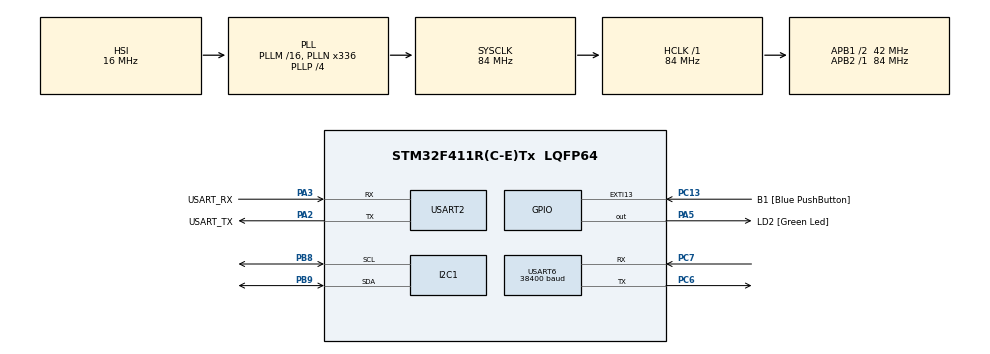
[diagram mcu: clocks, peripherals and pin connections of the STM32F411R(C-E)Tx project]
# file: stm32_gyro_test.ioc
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Mcu.Family=STM32F4
Mcu.Name=STM32F411R(C-E)Tx
Mcu.Package=LQFP64
NVIC.I2C1_EV_IRQn=true\:0\:0\:false\:false\:true\:true\:true\:true
NVIC.PriorityGroup=NVIC_PRIORITYGROUP_0
NVIC.TIM3_IRQn=true\:0\:0\:false\:false\:true\:true\:true\:true
NVIC.USART2_IRQn=true\:0\:0\:false\:false\:true\:true\:true\:true
NVIC.USART6_IRQn=true\:0\:0\:false\:false\:true\:true\:true\:true
PA13.GPIO_Label=TMS
PA13.Mode=Serial_Wire
PA13.Signal=SYS_JTMS-SWDIO
PA14.GPIO_Label=TCK
PA14.Mode=Serial_Wire
PA14.Signal=SYS_JTCK-SWCLK
PA2.GPIO_Label=USART_TX
PA2.Mode=Asynchronous
PA2.Signal=USART2_TX
PA3.GPIO_Label=USART_RX
PA3.Mode=Asynchronous
PA3.Signal=USART2_RX
PA5.GPIO_Label=LD2 [Green Led]
PA5.Signal=GPIO_Output
PB3.GPIO_Label=SWO
PB3.Signal=SYS_JTDO-SWO
PB8.Mode=I2C
PB8.Signal=I2C1_SCL
PB9.Mode=I2C
PB9.Signal=I2C1_SDA
PC13-ANTI_TAMP.GPIO_Label=B1 [Blue PushButton]
PC13-ANTI_TAMP.GPIO_ModeDefaultEXTI=GPIO_MODE_IT_FALLING
PC13-ANTI_TAMP.Signal=GPXTI13
PC14-OSC32_IN.Mode=LSE-External-Oscillator
PC14-OSC32_IN.Signal=RCC_OSC32_IN
PC15-OSC32_OUT.Mode=LSE-External-Oscillator
PC15-OSC32_OUT.Signal=RCC_OSC32_OUT
PC6.Mode=Asynchronous
PC6.Signal=USART6_TX
PC7.Mode=Asynchronous
PC7.Signal=USART6_RX
PH0\ -\ OSC_IN.Mode=HSE-External-Clock-Source
PH0\ -\ OSC_IN.Signal=RCC_OSC_IN
PH1\ -\ OSC_OUT.Mode=HSE-External-Clock-Source
PH1\ -\ OSC_OUT.Signal=RCC_OSC_OUT
ProjectManager.HeapSize=0x200
ProjectManager.StackSize=0x400
ProjectManager.TargetToolchain=STM32CubeIDE
RCC.48MHZClocksFreq_Value=84000000
RCC.AHBFreq_Value=84000000
RCC.APB1CLKDivider=RCC_HCLK_DIV2
RCC.APB1Freq_Value=42000000
RCC.APB1TimFreq_Value=84000000
RCC.APB2Freq_Value=84000000
RCC.APB2TimFreq_Value=84000000
RCC.CortexFreq_Value=84000000
RCC.FLatency-AdvancedSettings=FLASH_LATENCY_2
RCC.HCLKFreq_Value=84000000
RCC.HSE_VALUE=8000000
RCC.HSI_VALUE=16000000
RCC.PLLN=336
RCC.PLLP=RCC_PLLP_DIV4
RCC.SYSCLKFreq_VALUE=84000000
RCC.SYSCLKSource=RCC_SYSCLKSOURCE_PLLCLK
RCC.VCOOutputFreq_Value=336000000
TIM3.AutoReloadPreload=TIM_AUTORELOAD_PRELOAD_ENABLE
TIM3.Period=1000-1
TIM3.Prescaler=84-1
USART2.VirtualMode=VM_ASYNC
USART6.BaudRate=38400
USART6.VirtualMode=VM_ASYNC
VP_TIM3_VS_ClockSourceINT.Mode=Internal
board=NUCLEO-F411RE

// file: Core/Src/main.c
/* USER CODE BEGIN Header */
/**
  ******************************************************************************
  * @file           : main.c
  * @brief          : Main program body
  ******************************************************************************
  * @attention
  *
  * Copyright (c) 2025 STMicroelectronics.
  * All rights reserved.
  *
  * This software is licensed under terms that can be found in the LICENSE file
  * in the root directory of this software component.
  * If no LICENSE file comes with this software, it is provided AS-IS.
  *
  ******************************************************************************
  */
/* USER CODE END Header */
#include "main.h"

/* USER CODE BEGIN Includes */
#include "MPU6050.h"
#include "math.h"
#include <stdio.h>
#include <stdlib.h>
#include <string.h>
#include "esp.h"
/* USER CODE END Includes */

/* USER CODE BEGIN PD */
#ifdef __GNUC__
/* With GCC, small printf (option LD Linker->Libraries->Small printf
   set to 'Yes') calls __io_putchar() */
#define PUTCHAR_PROTOTYPE int __io_putchar(int ch)
#else
#define PUTCHAR_PROTOTYPE int fputc(int ch, FILE *f)
#endif /* __GNUC__ */
/* USER CODE END PD */

I2C_HandleTypeDef hi2c1;

TIM_HandleTypeDef htim3;

UART_HandleTypeDef huart2;
UART_HandleTypeDef huart6;

void SystemClock_Config(void);
static void MX_GPIO_Init(void);
static void MX_USART2_UART_Init(void);
static void MX_I2C1_Init(void);
static void MX_TIM3_Init(void);
static void MX_USART6_UART_Init(void);
/* USER CODE BEGIN PFP */
void MPU6050_Write(uint8_t Address, uint8_t data);
void MPU6050_Write_bits(uint8_t Address, uint8_t bitStart, uint8_t length, uint8_t data);
uint8_t MPU6050_Read(uint8_t Address);
void init_MPU6050(void);
void read_MPU6050_data(void);
int _write(int32_t file, uint8_t *ptr, int32_t len);
void calc_degree();

/* USER CODE END PFP */

/* USER CODE BEGIN 0 */
int16_t Ac_X0, Ac_Y0, Ac_Z0, Gy_X0, Gy_Y0, Gy_Z0;
float Ac_X1, Ac_Y1, Ac_Z1, Gy_X1, Gy_Y1, Gy_Z1;
float Ac_X2, Ac_Y2, Ac_Z2;
float Deg_X, Deg_Y, Deg_Z, Deg_XC, Deg_YC, Deg_ZC;
uint8_t MPU6050 = 0;

volatile unsigned int time3_1msCnt = 0;
volatile int time3_100msFlag = 0;
int time3_100msCnt = 0;
volatile int time3_1secFlag = 0;

extern cb_data_t cb_data;
char strBuff[MAX_ESP_COMMAND_LEN];

int Deg_XC_Cnt = 0;
char GyroBuff[100] = {0,};
/* USER CODE END 0 */

int main(void)
{

  /* USER CODE BEGIN 1 */
	int ret = 0;
  /* USER CODE END 1 */

  /* MCU Configuration--------------------------------------------------------*/

  /* Reset of all peripherals, Initializes the Flash interface and the Systick. */
  HAL_Init();

  /* Configure the system clock */
  SystemClock_Config();

  /* Initialize all configured peripherals */
  MX_GPIO_Init();
  MX_USART2_UART_Init();
  MX_I2C1_Init();
  MX_TIM3_Init();
  MX_USART6_UART_Init();
  /* USER CODE BEGIN 2 */
  init_MPU6050();

  if(HAL_TIM_Base_Start_IT(&htim3) != HAL_OK) //timer 인터럽드 시작ㄴ
	  Error_Handler();

  ret |= drv_esp_init();
  if(ret != 0)
  {
	  printf("Esp response error\r\n");
	  Error_Handler();
  }

  AiotClient_Init();
  /* USER CODE END 2 */

  /* Infinite loop */
  /* USER CODE BEGIN WHILE */
  while (1)
  {
//		calc_degree();
//		printf("X : %5.2f, Y : %5.2f\r\n", Deg_XC, Deg_YC);
	if(time3_100msFlag){
		read_MPU6050_data();
		calc_degree();
		time3_100msFlag = 0;
		time3_100msCnt++;

		if(time3_100msCnt % 10){
			time3_1secFlag = 1;
			time3_100msCnt = 0;
		}
	}
	if(time3_1secFlag){
		if(esp_get_status() != 0)
		{
			printf("server connecting ...\r\n");
			esp_client_conn();
		}

		if(Deg_XC > 30.0){
			Deg_XC_Cnt++;
		}

		time3_1secFlag = 0;
	}
	if(Deg_XC_Cnt > 3){
		sprintf(GyroBuff,"[CHI_SQL]SETDB@status@ON\n\0");
		esp_send_data(GyroBuff);
		HAL_Delay(100);
		//sprintf(GyroBuff, "[CHI_STM2]DETECT@ON\n\0");
		esp_send_data(GyroBuff);
		Deg_XC_Cnt = 0;
	}

	if(strstr((char *)cb_data.buf,"+IPD") && cb_data.buf[cb_data.length-1] == '\n')
	{
		//?��?��?���??  \r\n+IPD,15:[KSH_LIN]HELLO\n
		strcpy(strBuff,strchr((char *)cb_data.buf,'['));
		memset(cb_data.buf,0x0,sizeof(cb_data.buf));
		cb_data.length = 0;
//		esp_event(strBuff);
	}
    /* USER CODE END WHILE */

  }
}

void SystemClock_Config(void)
{
  RCC_OscInitTypeDef RCC_OscInitStruct = {0};
  RCC_ClkInitTypeDef RCC_ClkInitStruct = {0};

  /** Configure the main internal regulator output voltage
  */
  __HAL_RCC_PWR_CLK_ENABLE();
  __HAL_PWR_VOLTAGESCALING_CONFIG(PWR_REGULATOR_VOLTAGE_SCALE1);

  /** Initializes the RCC Oscillators according to the specified parameters
  * in the RCC_OscInitTypeDef structure.
  */
  RCC_OscInitStruct.OscillatorType = RCC_OSCILLATORTYPE_HSI;
  RCC_OscInitStruct.HSIState = RCC_HSI_ON;
  RCC_OscInitStruct.HSICalibrationValue = RCC_HSICALIBRATION_DEFAULT;
  RCC_OscInitStruct.PLL.PLLState = RCC_PLL_ON;
  RCC_OscInitStruct.PLL.PLLSource = RCC_PLLSOURCE_HSI;
  RCC_OscInitStruct.PLL.PLLM = 16;
  RCC_OscInitStruct.PLL.PLLN = 336;
  RCC_OscInitStruct.PLL.PLLP = RCC_PLLP_DIV4;
  RCC_OscInitStruct.PLL.PLLQ = 4;
  if (HAL_RCC_OscConfig(&RCC_OscInitStruct) != HAL_OK)
  {
    Error_Handler();
  }

  /** Initializes the CPU, AHB and APB buses clocks
  */
  RCC_ClkInitStruct.ClockType = RCC_CLOCKTYPE_HCLK|RCC_CLOCKTYPE_SYSCLK
                              |RCC_CLOCKTYPE_PCLK1|RCC_CLOCKTYPE_PCLK2;
  RCC_ClkInitStruct.SYSCLKSource = RCC_SYSCLKSOURCE_PLLCLK;
  RCC_ClkInitStruct.AHBCLKDivider = RCC_SYSCLK_DIV1;
  RCC_ClkInitStruct.APB1CLKDivider = RCC_HCLK_DIV2;
  RCC_ClkInitStruct.APB2CLKDivider = RCC_HCLK_DIV1;

  if (HAL_RCC_ClockConfig(&RCC_ClkInitStruct, FLASH_LATENCY_2) != HAL_OK)
  {
    Error_Handler();
  }
}

static void MX_I2C1_Init(void)
{

  hi2c1.Instance = I2C1;
  hi2c1.Init.ClockSpeed = 100000;
  hi2c1.Init.DutyCycle = I2C_DUTYCYCLE_2;
  hi2c1.Init.OwnAddress1 = 0;
  hi2c1.Init.AddressingMode = I2C_ADDRESSINGMODE_7BIT;
  hi2c1.Init.DualAddressMode = I2C_DUALADDRESS_DISABLE;
  hi2c1.Init.OwnAddress2 = 0;
  hi2c1.Init.GeneralCallMode = I2C_GENERALCALL_DISABLE;
  hi2c1.Init.NoStretchMode = I2C_NOSTRETCH_DISABLE;
  if (HAL_I2C_Init(&hi2c1) != HAL_OK)
  {
    Error_Handler();
  }

}

static void MX_TIM3_Init(void)
{

  TIM_ClockConfigTypeDef sClockSourceConfig = {0};
  TIM_MasterConfigTypeDef sMasterConfig = {0};

  htim3.Instance = TIM3;
  htim3.Init.Prescaler = 84-1;
  htim3.Init.CounterMode = TIM_COUNTERMODE_UP;
  htim3.Init.Period = 1000-1;
  htim3.Init.ClockDivision = TIM_CLOCKDIVISION_DIV1;
  htim3.Init.AutoReloadPreload = TIM_AUTORELOAD_PRELOAD_ENABLE;
  if (HAL_TIM_Base_Init(&htim3) != HAL_OK)
  {
    Error_Handler();
  }
  sClockSourceConfig.ClockSource = TIM_CLOCKSOURCE_INTERNAL;
  if (HAL_TIM_ConfigClockSource(&htim3, &sClockSourceConfig) != HAL_OK)
  {
    Error_Handler();
  }
  sMasterConfig.MasterOutputTrigger = TIM_TRGO_RESET;
  sMasterConfig.MasterSlaveMode = TIM_MASTERSLAVEMODE_DISABLE;
  if (HAL_TIMEx_MasterConfigSynchronization(&htim3, &sMasterConfig) != HAL_OK)
  {
    Error_Handler();
  }

}

static void MX_USART2_UART_Init(void)
{

  huart2.Instance = USART2;
  huart2.Init.BaudRate = 115200;
  huart2.Init.WordLength = UART_WORDLENGTH_8B;
  huart2.Init.StopBits = UART_STOPBITS_1;
  huart2.Init.Parity = UART_PARITY_NONE;
  huart2.Init.Mode = UART_MODE_TX_RX;
  huart2.Init.HwFlowCtl = UART_HWCONTROL_NONE;
  huart2.Init.OverSampling = UART_OVERSAMPLING_16;
  if (HAL_UART_Init(&huart2) != HAL_OK)
  {
    Error_Handler();
  }

}

static void MX_USART6_UART_Init(void)
{

  huart6.Instance = USART6;
  huart6.Init.BaudRate = 38400;
  huart6.Init.WordLength = UART_WORDLENGTH_8B;
  huart6.Init.StopBits = UART_STOPBITS_1;
  huart6.Init.Parity = UART_PARITY_NONE;
  huart6.Init.Mode = UART_MODE_TX_RX;
  huart6.Init.HwFlowCtl = UART_HWCONTROL_NONE;
  huart6.Init.OverSampling = UART_OVERSAMPLING_16;
  if (HAL_UART_Init(&huart6) != HAL_OK)
  {
    Error_Handler();
  }

}

static void MX_GPIO_Init(void)
{
  GPIO_InitTypeDef GPIO_InitStruct = {0};

  /* GPIO Ports Clock Enable */
  __HAL_RCC_GPIOC_CLK_ENABLE();
  __HAL_RCC_GPIOH_CLK_ENABLE();
  __HAL_RCC_GPIOA_CLK_ENABLE();
  __HAL_RCC_GPIOB_CLK_ENABLE();

  /*Configure GPIO pin Output Level */
  HAL_GPIO_WritePin(LD2_GPIO_Port, LD2_Pin, GPIO_PIN_RESET);

  /*Configure GPIO pin : B1_Pin */
  GPIO_InitStruct.Pin = B1_Pin;
  GPIO_InitStruct.Mode = GPIO_MODE_IT_FALLING;
  GPIO_InitStruct.Pull = GPIO_NOPULL;
  HAL_GPIO_Init(B1_GPIO_Port, &GPIO_InitStruct);

  /*Configure GPIO pin : LD2_Pin */
  GPIO_InitStruct.Pin = LD2_Pin;
  GPIO_InitStruct.Mode = GPIO_MODE_OUTPUT_PP;
  GPIO_InitStruct.Pull = GPIO_NOPULL;
  GPIO_InitStruct.Speed = GPIO_SPEED_FREQ_LOW;
  HAL_GPIO_Init(LD2_GPIO_Port, &GPIO_InitStruct);

}

/* USER CODE BEGIN 4 */
void MPU6050_Write(uint8_t Address, uint8_t data){
  HAL_I2C_Mem_Write(&hi2c1, MPU6050, Address, 1, (uint8_t *)&data, 1, 10);
}

void MPU6050_Write_bits(uint8_t Address, uint8_t bitStart, uint8_t length, uint8_t data){
  uint8_t tmp = 0;
  HAL_I2C_Mem_Read(&hi2c1, MPU6050, Address, 1, (uint8_t *)&tmp, 1, 10);
  uint8_t mask = 0;
  switch(length){
    case 1: mask = 0x01; break;
    case 2: mask = 0x03; break;
    case 3: mask = 0x07; break;
    case 4: mask = 0x0F; break;
    case 5: mask = 0x1F; break;
    case 6: mask = 0x3F; break;
    case 7: mask = 0x7F; break;
    case 8: mask = 0xFF; break;
  }
  tmp &= ~(mask << bitStart);
  tmp |= (data << bitStart);
  HAL_I2C_Mem_Write(&hi2c1, MPU6050, Address, 1, (uint8_t *)&tmp, 1, 10);
}

uint8_t MPU6050_Read(uint8_t Address){
  uint8_t data;
  HAL_I2C_Mem_Read(&hi2c1, MPU6050, Address, 1, (uint8_t *)&data, 1, 10);
  return data;
}

void init_MPU6050(void){
  while(HAL_I2C_IsDeviceReady(&hi2c1, MPU6050, 10, 1000)!=HAL_OK) {
    MPU6050++;
  }
  printf("MPU6050 I2C Address is 0x%02X(7bit value)\r\n", MPU6050>>1);

  uint8_t temp = MPU6050_Read(MPU6050_RA_WHO_AM_I);
  printf("Who am I = 0x%02X\r\n", temp);
  printf("MPU6050 Initialize..... \r\n");
  printf("--------------------------------------------------------\r\n");

  HAL_Delay(100);
  /* Power Management 1, SLEEP Diasble*/
  MPU6050_Write_bits(MPU6050_RA_PWR_MGMT_1, MPU6050_PWR1_SLEEP_BIT, MPU6050_PWR1_SLEEP_LENGTH, DISABLE);
  HAL_Delay(10);
  /* Power Management 1, Internal 8MHz oscillator */
  MPU6050_Write_bits(MPU6050_RA_PWR_MGMT_1, MPU6050_PWR1_CLKSEL_BIT, MPU6050_PWR1_CLKSEL_LENGTH, MPU6050_CLOCK_INTERNAL);
  /* Gyroscope Configuration, ± 250 °/s, 131 LSB/°/s */
  MPU6050_Write_bits(MPU6050_RA_GYRO_CONFIG, MPU6050_GCONFIG_FS_SEL_BIT, MPU6050_GCONFIG_FS_SEL_LENGTH, MPU6050_GYRO_FS_250);
  /* Accelerometer Configuration, ± 2g, 16384 LSB/g */
  MPU6050_Write_bits(MPU6050_RA_ACCEL_CONFIG, MPU6050_ACONFIG_AFS_SEL_BIT, MPU6050_ACONFIG_AFS_SEL_LENGTH, MPU6050_ACCEL_FS_2);
}

void read_MPU6050_data(void){
  Ac_X0 = (MPU6050_Read(MPU6050_RA_ACCEL_XOUT_H)<<8) | MPU6050_Read(MPU6050_RA_ACCEL_XOUT_L);
  Ac_Y0 = (MPU6050_Read(MPU6050_RA_ACCEL_YOUT_H)<<8) | MPU6050_Read(MPU6050_RA_ACCEL_YOUT_L);
  Ac_Z0 = (MPU6050_Read(MPU6050_RA_ACCEL_ZOUT_H)<<8) | MPU6050_Read(MPU6050_RA_ACCEL_ZOUT_L);
  Gy_X0 = (MPU6050_Read(MPU6050_RA_GYRO_XOUT_H)<<8) | MPU6050_Read(MPU6050_RA_GYRO_XOUT_L);
  Gy_Y0 = (MPU6050_Read(MPU6050_RA_GYRO_YOUT_H)<<8) | MPU6050_Read(MPU6050_RA_GYRO_YOUT_L);
  Gy_Z0 = (MPU6050_Read(MPU6050_RA_GYRO_ZOUT_H)<<8) | MPU6050_Read(MPU6050_RA_GYRO_ZOUT_L);
}

int _write(int32_t file, uint8_t *ptr, int32_t len){
  HAL_UART_Transmit(&huart2, ptr, len, 10);
  return len;
}

void calc_degree(){
	static uint16_t cnt=1;
	Ac_X1 = (float)Ac_X0 / 16384.0;
	Ac_Y1 = (float)Ac_Y0 / 16384.0;
	Ac_Z1 = (float)Ac_Z0 / 16384.0;
	Gy_X1 = (float)Gy_X0 / 131.0;
	Gy_Y1 = (float)Gy_Y0 / 131.0;
	Gy_Z1 = (float)Gy_Z0 / 131.0;

	Ac_X2 = Ac_X2 * ((float)cnt-1) / (float)cnt + Ac_X1 / (float)cnt;
	Ac_Y2 = Ac_Y2 * ((float)cnt-1) / (float)cnt + Ac_Y1 / (float)cnt;
	Ac_Z2 = Ac_Z2 * ((float)cnt-1) / (float)cnt + Ac_Z1 / (float)cnt;

	Deg_X = atan(Ac_Y1 / sqrt(pow(Ac_X1, 2) + pow(Ac_Z1, 2))) * 180.0 / M_PI;
	Deg_Y = atan(Ac_X1 / sqrt(pow(Ac_Y1, 2) + pow(Ac_Z1, 2))) * 180.0 / M_PI;
	Deg_Z = atan(sqrt(pow(Ac_X1, 2) + pow(Ac_Y1, 2)) / Ac_Z1) * 180.0 / M_PI;

	/* Complementary filter */
	Deg_XC = 0.98 * (Deg_XC + Gy_X1 * 0.005) + 0.02 * Deg_X;
	Deg_YC = 0.98 * (Deg_YC + Gy_Y1 * 0.005) + 0.02 * Deg_Y;
	Deg_ZC = 0.98 * Deg_ZC + 0.02 * Deg_Z;
	if(++cnt>20) cnt=20;
}

void HAL_TIM_PeriodElapsedCallback(TIM_HandleTypeDef *htim){
	if(htim->Instance==TIM3){
		time3_1msCnt++;
		if(!(time3_1msCnt%100)){
			time3_100msFlag = 1;
		}
	}
}

/* USER CODE END 4 */

void Error_Handler(void)
{
  __disable_irq();
  while (1)
  {
  }
}
